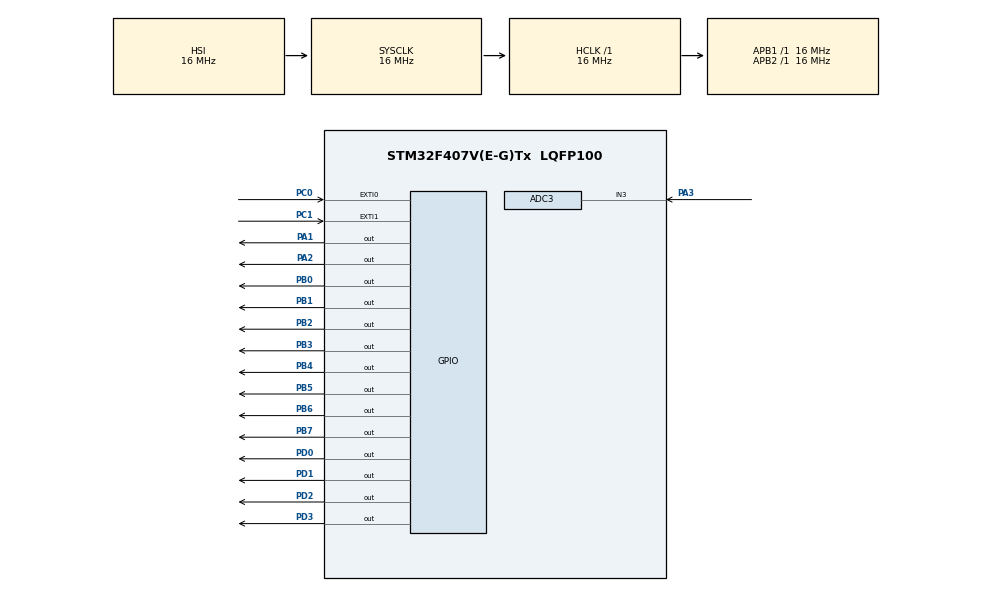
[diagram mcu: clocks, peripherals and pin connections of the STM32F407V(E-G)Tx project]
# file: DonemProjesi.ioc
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ADC3.Channel-17\#ChannelRegularConversion=ADC_CHANNEL_3
ADC3.InjNumberOfConversion=0
ADC3.NbrOfConversion=1
ADC3.NbrOfConversionFlag=1
ADC3.Rank-17\#ChannelRegularConversion=1
ADC3.Resolution=ADC_RESOLUTION_6B
ADC3.SamplingTime-17\#ChannelRegularConversion=ADC_SAMPLETIME_144CYCLES
Mcu.Family=STM32F4
Mcu.Name=STM32F407V(E-G)Tx
Mcu.Package=LQFP100
NVIC.ADC_IRQn=true\:0\:0\:false\:false\:true\:true
NVIC.EXTI0_IRQn=true\:0\:0\:false\:false\:true\:true
NVIC.EXTI1_IRQn=true\:0\:0\:false\:false\:true\:true
NVIC.PriorityGroup=NVIC_PRIORITYGROUP_4
NVIC.TIM3_IRQn=true\:0\:0\:false\:false\:true\:true
NVIC.TIM4_IRQn=true\:0\:0\:false\:false\:true\:true
PA1.Signal=GPIO_Output
PA2.Signal=GPIO_Output
PA3.Signal=ADCx_IN3
PB0.Signal=GPIO_Output
PB1.Signal=GPIO_Output
PB2.Signal=GPIO_Output
PB3.Signal=GPIO_Output
PB4.Signal=GPIO_Output
PB5.Signal=GPIO_Output
PB6.Signal=GPIO_Output
PB7.Signal=GPIO_Output
PC0.GPIO_ModeDefaultEXTI=GPIO_MODE_IT_RISING_FALLING
PC0.Signal=GPXTI0
PC1.GPIO_ModeDefaultEXTI=GPIO_MODE_IT_RISING_FALLING
PC1.Signal=GPXTI1
PD0.Signal=GPIO_Output
PD1.Signal=GPIO_Output
PD2.Signal=GPIO_Output
PD3.Signal=GPIO_Output
ProjectManager.HeapSize=0x200
ProjectManager.StackSize=0x400
ProjectManager.TargetToolchain=MDK-ARM V5
RCC.AHBFreq_Value=16000000
RCC.APB1Freq_Value=16000000
RCC.APB2Freq_Value=16000000
RCC.CortexFreq_Value=16000000
RCC.HSE_VALUE=25000000
RCC.HSI_VALUE=16000000
RCC.LSE_VALUE=32768
RCC.SYSCLKFreq_VALUE=16000000
RCC.VCOOutputFreq_Value=192000000
SH.ADCx_IN3.0=ADC3_IN3,IN3
TIM3.Period=4999
TIM3.Prescaler=23999
TIM4.Period=4999
TIM4.Prescaler=23999
VP_TIM3_VS_ClockSourceINT.Mode=Internal
VP_TIM4_VS_ClockSourceINT.Mode=Internal
board=custom

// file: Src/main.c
/* USER CODE BEGIN Header */
/**
  ******************************************************************************
  * @file           : main.c
  * @brief          : Main program body
  ******************************************************************************
  ** This notice applies to any and all portions of this file
  * that are not between comment pairs USER CODE BEGIN and
  * USER CODE END. Other portions of this file, whether
  * inserted by the user or by software development tools
  * are owned by their respective copyright owners.
  *
  * COPYRIGHT(c) 2020 STMicroelectronics
  *
  * Redistribution and use in source and binary forms, with or without modification,
  * are permitted provided that the following conditions are met:
  *   1. Redistributions of source code must retain the above copyright notice,
  *      this list of conditions and the following disclaimer.
  *   2. Redistributions in binary form must reproduce the above copyright notice,
  *      this list of conditions and the following disclaimer in the documentation
  *      and/or other materials provided with the distribution.
  *   3. Neither the name of STMicroelectronics nor the names of its contributors
  *      may be used to endorse or promote products derived from this software
  *      without specific prior written permission.
  *
  * THIS SOFTWARE IS PROVIDED BY THE COPYRIGHT HOLDERS AND CONTRIBUTORS "AS IS"
  * AND ANY EXPRESS OR IMPLIED WARRANTIES, INCLUDING, BUT NOT LIMITED TO, THE
  * IMPLIED WARRANTIES OF MERCHANTABILITY AND FITNESS FOR A PARTICULAR PURPOSE ARE
  * DISCLAIMED. IN NO EVENT SHALL THE COPYRIGHT HOLDER OR CONTRIBUTORS BE LIABLE
  * FOR ANY DIRECT, INDIRECT, INCIDENTAL, SPECIAL, EXEMPLARY, OR CONSEQUENTIAL
  * DAMAGES (INCLUDING, BUT NOT LIMITED TO, PROCUREMENT OF SUBSTITUTE GOODS OR
  * SERVICES; LOSS OF USE, DATA, OR PROFITS; OR BUSINESS INTERRUPTION) HOWEVER
  * CAUSED AND ON ANY THEORY OF LIABILITY, WHETHER IN CONTRACT, STRICT LIABILITY,
  * OR TORT (INCLUDING NEGLIGENCE OR OTHERWISE) ARISING IN ANY WAY OUT OF THE USE
  * OF THIS SOFTWARE, EVEN IF ADVISED OF THE POSSIBILITY OF SUCH DAMAGE.
  *
  ******************************************************************************
  */
/* USER CODE END Header */

#include "main.h"

ADC_HandleTypeDef hadc3;

TIM_HandleTypeDef htim3;
TIM_HandleTypeDef htim4;

/* USER CODE BEGIN PV */

int urunSayisi;
uint16_t sayac1;
uint16_t sayac2;
int urunA;
int urunB;
int adcDegeri=0;
enum state {Working = 1, Failed = 0};
enum state kontrol=Failed;

/* USER CODE END PV */

void SystemClock_Config(void);
static void MX_GPIO_Init(void);
static void MX_TIM3_Init(void);
static void MX_ADC3_Init(void);
static void MX_TIM4_Init(void);

int main(void)
{

  /* MCU Configuration--------------------------------------------------------*/

  /* Reset of all peripherals, Initializes the Flash interface and the Systick. */
  HAL_Init();

  /* Configure the system clock */
  SystemClock_Config();

  /* Initialize all configured peripherals */
  MX_GPIO_Init();
  MX_TIM3_Init();
  MX_ADC3_Init();
  MX_TIM4_Init();
  /* USER CODE BEGIN 2 */
	sayac1=0;
	sayac2=0;
	urunSayisi=0;
	urunA =0;
	urunB=0;
	HAL_ADC_Start_IT(&hadc3);
	HAL_TIM_Base_Start_IT(&htim3);
	HAL_TIM_Base_Start_IT(&htim4);
  /* USER CODE END 2 */

  /* Infinite loop */
  /* USER CODE BEGIN WHILE */
  while (1)
  {

		if(sayac2%2==1){
				HAL_GPIO_WritePin(GPIOD,GPIO_PIN_0,GPIO_PIN_SET);
				//HAL_Delay(1000);

		}
		else if(sayac2%2==0){
				HAL_GPIO_WritePin(GPIOD,GPIO_PIN_0,GPIO_PIN_RESET);
		}

    /* USER CODE END WHILE */

  }
}

void SystemClock_Config(void)
{
  RCC_OscInitTypeDef RCC_OscInitStruct = {0};
  RCC_ClkInitTypeDef RCC_ClkInitStruct = {0};

  /**Configure the main internal regulator output voltage
  */
  __HAL_RCC_PWR_CLK_ENABLE();
  __HAL_PWR_VOLTAGESCALING_CONFIG(PWR_REGULATOR_VOLTAGE_SCALE1);
  /**Initializes the CPU, AHB and APB busses clocks
  */
  RCC_OscInitStruct.OscillatorType = RCC_OSCILLATORTYPE_HSI;
  RCC_OscInitStruct.HSIState = RCC_HSI_ON;
  RCC_OscInitStruct.HSICalibrationValue = RCC_HSICALIBRATION_DEFAULT;
  RCC_OscInitStruct.PLL.PLLState = RCC_PLL_NONE;
  if (HAL_RCC_OscConfig(&RCC_OscInitStruct) != HAL_OK)
  {
    Error_Handler();
  }
  /**Initializes the CPU, AHB and APB busses clocks
  */
  RCC_ClkInitStruct.ClockType = RCC_CLOCKTYPE_HCLK|RCC_CLOCKTYPE_SYSCLK
                              |RCC_CLOCKTYPE_PCLK1|RCC_CLOCKTYPE_PCLK2;
  RCC_ClkInitStruct.SYSCLKSource = RCC_SYSCLKSOURCE_HSI;
  RCC_ClkInitStruct.AHBCLKDivider = RCC_SYSCLK_DIV1;
  RCC_ClkInitStruct.APB1CLKDivider = RCC_HCLK_DIV1;
  RCC_ClkInitStruct.APB2CLKDivider = RCC_HCLK_DIV1;

  if (HAL_RCC_ClockConfig(&RCC_ClkInitStruct, FLASH_LATENCY_0) != HAL_OK)
  {
    Error_Handler();
  }
}

static void MX_ADC3_Init(void)
{

  ADC_ChannelConfTypeDef sConfig = {0};

  /**Configure the global features of the ADC (Clock, Resolution, Data Alignment and number of conversion)
  */
  hadc3.Instance = ADC3;
  hadc3.Init.ClockPrescaler = ADC_CLOCK_SYNC_PCLK_DIV2;
  hadc3.Init.Resolution = ADC_RESOLUTION_6B;
  hadc3.Init.ScanConvMode = DISABLE;
  hadc3.Init.ContinuousConvMode = DISABLE;
  hadc3.Init.DiscontinuousConvMode = DISABLE;
  hadc3.Init.ExternalTrigConvEdge = ADC_EXTERNALTRIGCONVEDGE_NONE;
  hadc3.Init.ExternalTrigConv = ADC_SOFTWARE_START;
  hadc3.Init.DataAlign = ADC_DATAALIGN_RIGHT;
  hadc3.Init.NbrOfConversion = 1;
  hadc3.Init.DMAContinuousRequests = DISABLE;
  hadc3.Init.EOCSelection = ADC_EOC_SINGLE_CONV;
  if (HAL_ADC_Init(&hadc3) != HAL_OK)
  {
    Error_Handler();
  }
  /**Configure for the selected ADC regular channel its corresponding rank in the sequencer and its sample time.
  */
  sConfig.Channel = ADC_CHANNEL_3;
  sConfig.Rank = 1;
  sConfig.SamplingTime = ADC_SAMPLETIME_144CYCLES;
  if (HAL_ADC_ConfigChannel(&hadc3, &sConfig) != HAL_OK)
  {
    Error_Handler();
  }

}

static void MX_TIM3_Init(void)
{

  TIM_ClockConfigTypeDef sClockSourceConfig = {0};
  TIM_MasterConfigTypeDef sMasterConfig = {0};

  htim3.Instance = TIM3;
  htim3.Init.Prescaler = 23999;
  htim3.Init.CounterMode = TIM_COUNTERMODE_UP;
  htim3.Init.Period = 4999;
  htim3.Init.ClockDivision = TIM_CLOCKDIVISION_DIV1;
  if (HAL_TIM_Base_Init(&htim3) != HAL_OK)
  {
    Error_Handler();
  }
  sClockSourceConfig.ClockSource = TIM_CLOCKSOURCE_INTERNAL;
  if (HAL_TIM_ConfigClockSource(&htim3, &sClockSourceConfig) != HAL_OK)
  {
    Error_Handler();
  }
  sMasterConfig.MasterOutputTrigger = TIM_TRGO_RESET;
  sMasterConfig.MasterSlaveMode = TIM_MASTERSLAVEMODE_DISABLE;
  if (HAL_TIMEx_MasterConfigSynchronization(&htim3, &sMasterConfig) != HAL_OK)
  {
    Error_Handler();
  }

}

static void MX_TIM4_Init(void)
{

  TIM_ClockConfigTypeDef sClockSourceConfig = {0};
  TIM_MasterConfigTypeDef sMasterConfig = {0};

  htim4.Instance = TIM4;
  htim4.Init.Prescaler = 23999;
  htim4.Init.CounterMode = TIM_COUNTERMODE_UP;
  htim4.Init.Period = 4999;
  htim4.Init.ClockDivision = TIM_CLOCKDIVISION_DIV1;
  if (HAL_TIM_Base_Init(&htim4) != HAL_OK)
  {
    Error_Handler();
  }
  sClockSourceConfig.ClockSource = TIM_CLOCKSOURCE_INTERNAL;
  if (HAL_TIM_ConfigClockSource(&htim4, &sClockSourceConfig) != HAL_OK)
  {
    Error_Handler();
  }
  sMasterConfig.MasterOutputTrigger = TIM_TRGO_RESET;
  sMasterConfig.MasterSlaveMode = TIM_MASTERSLAVEMODE_DISABLE;
  if (HAL_TIMEx_MasterConfigSynchronization(&htim4, &sMasterConfig) != HAL_OK)
  {
    Error_Handler();
  }

}

static void MX_GPIO_Init(void)
{
  GPIO_InitTypeDef GPIO_InitStruct = {0};

  /* GPIO Ports Clock Enable */
  __HAL_RCC_GPIOC_CLK_ENABLE();
  __HAL_RCC_GPIOA_CLK_ENABLE();
  __HAL_RCC_GPIOB_CLK_ENABLE();
  __HAL_RCC_GPIOD_CLK_ENABLE();

  /*Configure GPIO pin Output Level */
  HAL_GPIO_WritePin(GPIOA, GPIO_PIN_1|GPIO_PIN_2, GPIO_PIN_RESET);

  /*Configure GPIO pin Output Level */
  HAL_GPIO_WritePin(GPIOB, GPIO_PIN_0|GPIO_PIN_1|GPIO_PIN_2|GPIO_PIN_3
                          |GPIO_PIN_4|GPIO_PIN_5|GPIO_PIN_6|GPIO_PIN_7, GPIO_PIN_RESET);

  /*Configure GPIO pin Output Level */
  HAL_GPIO_WritePin(GPIOD, GPIO_PIN_0|GPIO_PIN_1|GPIO_PIN_2|GPIO_PIN_3, GPIO_PIN_RESET);

  /*Configure GPIO pins : PC0 PC1 */
  GPIO_InitStruct.Pin = GPIO_PIN_0|GPIO_PIN_1;
  GPIO_InitStruct.Mode = GPIO_MODE_IT_RISING_FALLING;
  GPIO_InitStruct.Pull = GPIO_NOPULL;
  HAL_GPIO_Init(GPIOC, &GPIO_InitStruct);

  /*Configure GPIO pins : PA1 PA2 */
  GPIO_InitStruct.Pin = GPIO_PIN_1|GPIO_PIN_2;
  GPIO_InitStruct.Mode = GPIO_MODE_OUTPUT_PP;
  GPIO_InitStruct.Pull = GPIO_NOPULL;
  GPIO_InitStruct.Speed = GPIO_SPEED_FREQ_LOW;
  HAL_GPIO_Init(GPIOA, &GPIO_InitStruct);

  /*Configure GPIO pins : PB0 PB1 PB2 PB3
                           PB4 PB5 PB6 PB7 */
  GPIO_InitStruct.Pin = GPIO_PIN_0|GPIO_PIN_1|GPIO_PIN_2|GPIO_PIN_3
                          |GPIO_PIN_4|GPIO_PIN_5|GPIO_PIN_6|GPIO_PIN_7;
  GPIO_InitStruct.Mode = GPIO_MODE_OUTPUT_PP;
  GPIO_InitStruct.Pull = GPIO_NOPULL;
  GPIO_InitStruct.Speed = GPIO_SPEED_FREQ_LOW;
  HAL_GPIO_Init(GPIOB, &GPIO_InitStruct);

  /*Configure GPIO pins : PD0 PD1 PD2 PD3 */
  GPIO_InitStruct.Pin = GPIO_PIN_0|GPIO_PIN_1|GPIO_PIN_2|GPIO_PIN_3;
  GPIO_InitStruct.Mode = GPIO_MODE_OUTPUT_PP;
  GPIO_InitStruct.Pull = GPIO_NOPULL;
  GPIO_InitStruct.Speed = GPIO_SPEED_FREQ_LOW;
  HAL_GPIO_Init(GPIOD, &GPIO_InitStruct);

  /* EXTI interrupt init*/
  HAL_NVIC_SetPriority(EXTI0_IRQn, 0, 0);
  HAL_NVIC_EnableIRQ(EXTI0_IRQn);

  HAL_NVIC_SetPriority(EXTI1_IRQn, 0, 0);
  HAL_NVIC_EnableIRQ(EXTI1_IRQn);

}

void Error_Handler(void)
{
}

/************************ (C) COPYRIGHT STMicroelectronics *****END OF FILE****/
